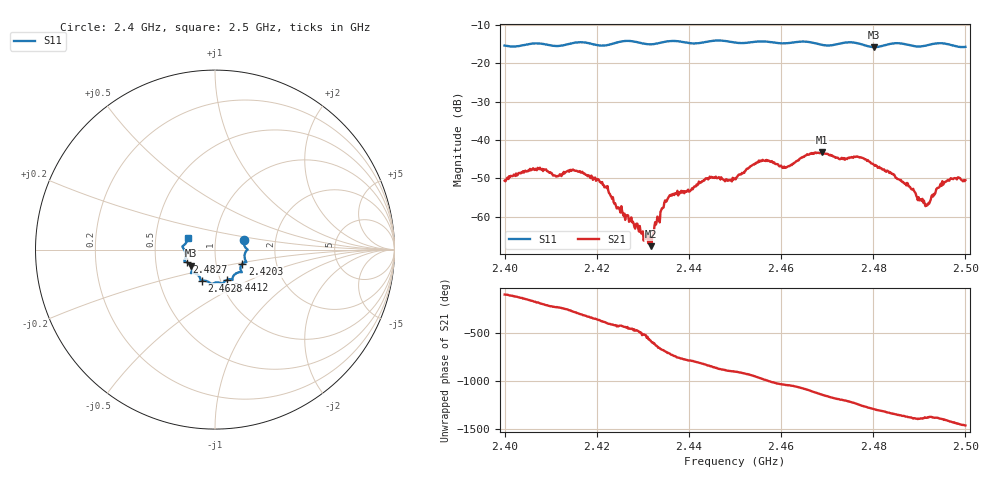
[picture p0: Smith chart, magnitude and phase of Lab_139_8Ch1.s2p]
# Hz S RI R 50
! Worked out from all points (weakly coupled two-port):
!   601 points, 2.4 GHz to 2.5 GHz, reference 50 ohm
!   highest |S21| = -43.21 dB at 2.4688 GHz (marker M1); lowest = -67.6 dB at 2.4318 GHz (marker M2)
!   lowest |S11| = -15.8 dB at 2.4802 GHz (marker M3), VSWR 1.39, Z = 37.5 - j6.91 ohm
!   |S11| at or under -10 dB: start of sweep to end of sweep
!   S12 and S22 are empty: the file has one direction only
!   S11 on the Smith chart (normalised r, x): 2.4 GHz: 1.38, +0.15; 2.4203 GHz: 1.34, -0.22; 2.4412 GHz: 1.08, -0.37; 2.4628 GHz: 0.82, -0.29; 2.4827 GHz: 0.72, -0.10; 2.5 GHz: 0.73, +0.10
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2.4e9  0.1614 0.0535  -9.47e-05 -0.00295  0 0  0 0
2.407167e9  0.1816 -0.000262  -0.00432 -0.000399  0 0  0 0
2.411333e9  0.1654 -0.0282  -0.00247 0.00227  0 0  0 0
2.416667e9  0.1746 -0.0696  0.00189 0.00326  0 0  0 0
2.420333e9  0.152 -0.079  0.00309 8.46e-05  0 0  0 0
2.424667e9  0.1455 -0.1197  0.000513 -0.00123  0 0  0 0
2.431833e9  0.1089 -0.1391  -0.000279 0.000307  0 0  0 0
2.433333e9  0.0998 -0.1525  0.000337 0.00088  0 0  0 0
2.436e9  0.0983 -0.1682  0.00188 3.75e-05  0 0  0 0
2.441167e9  0.0687 -0.1679  0.000631 -0.0024  0 0  0 0
2.4445e9  0.0453 -0.1884  -0.00171 -0.00286  0 0  0 0
2.45e9  0.0247 -0.1842  -0.00309 0.00018  0 0  0 0
2.455667e9  -0.0186 -0.1917  -0.00153 0.00508  0 0  0 0
2.462833e9  -0.0718 -0.1734  0.00458 0.0021  0 0  0 0
2.466667e9  -0.0806 -0.1682  0.00601 -0.00313  0 0  0 0
2.468833e9  -0.0877 -0.1501  0.003 -0.00623  0 0  0 0
2.480167e9  -0.1354 -0.0897  -0.0038 0.00285  0 0  0 0
2.482667e9  -0.1579 -0.0704  -0.00177 0.00355  0 0  0 0
2.483333e9  -0.1631 -0.0684  -0.00116 0.00373  0 0  0 0
2.491667e9  -0.1713 -0.000611  0.000846 0.00112  0 0  0 0
2.4955e9  -0.1795 0.0194  0.00236 0.00158  0 0  0 0
2.5e9  -0.1506 0.0641  0.00266 -0.00139  0 0  0 0
